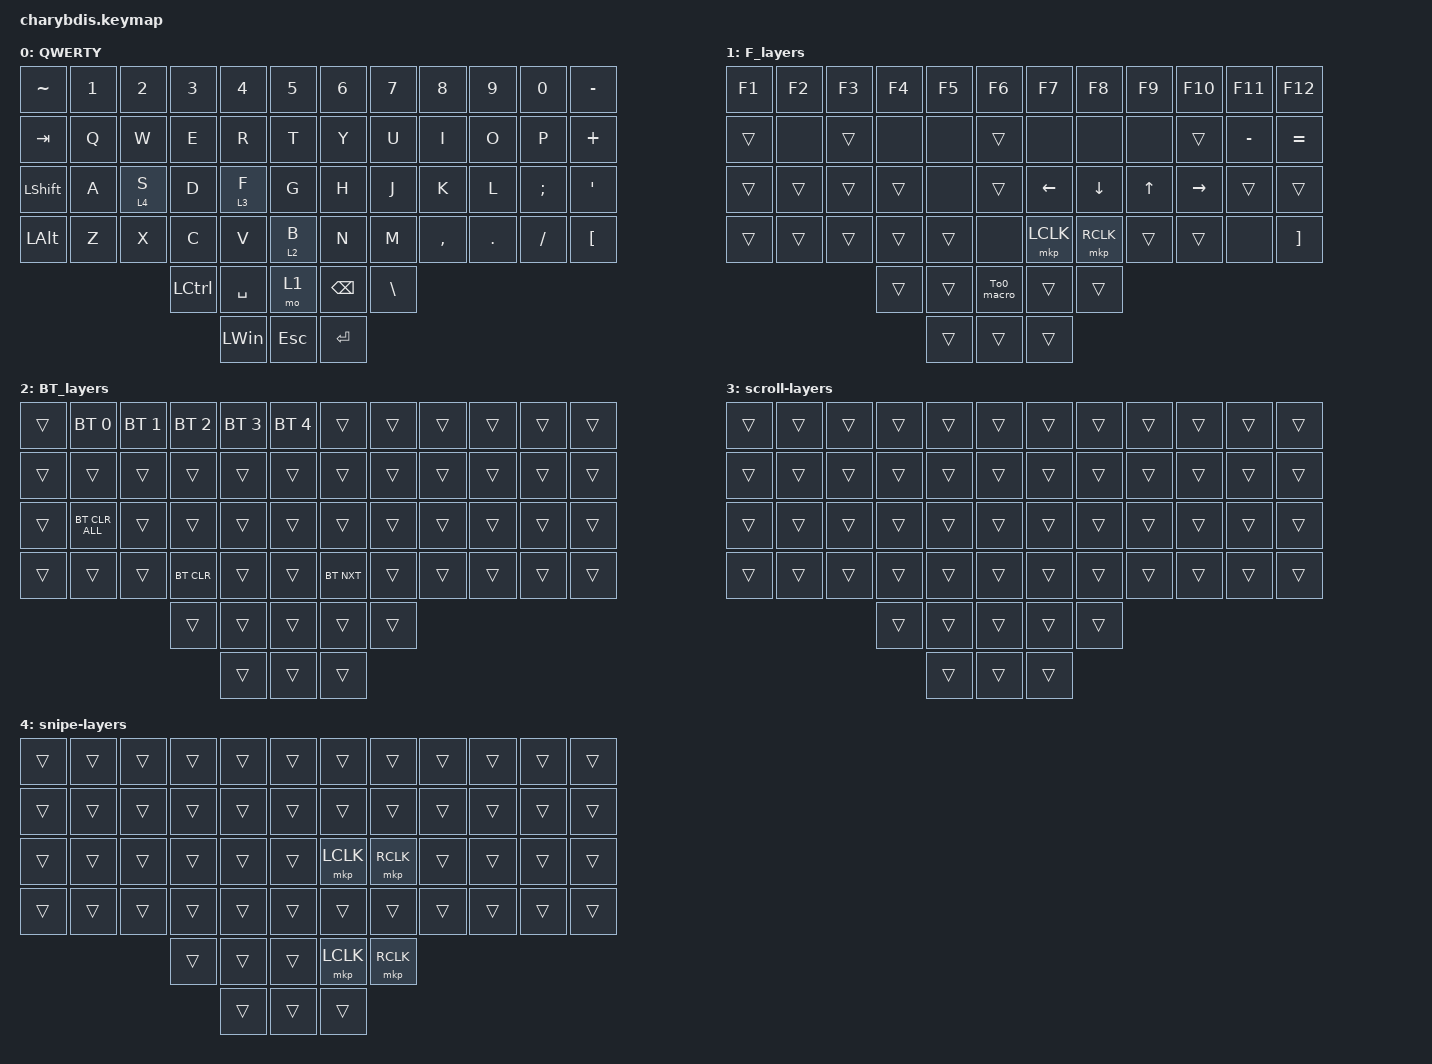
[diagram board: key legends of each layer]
#include <behaviors.dtsi>
#include <dt-bindings/zmk/bt.h>
#include <dt-bindings/zmk/keys.h>
#include <dt-bindings/zmk/pointing.h>
#include <dt-bindings/zmk/rgb.h>

&lt {
    tapping-term-ms = <200>;
    flavor = "balanced";
    quick-tap-ms = <150>;
};

/ {
    macros {
        To1_macro: To1_macro {
            compatible = "zmk,behavior-macro";
            label = "To1_macro";
            #binding-cells = <0>;
            bindings = <&rgb_ug RGB_EFF &rgb_ug RGB_COLOR_HSB(128,100,50) &to 1>;
        };

        To0_macro: To0_macro {
            compatible = "zmk,behavior-macro";
            label = "To0_macro";
            #binding-cells = <0>;
            bindings = <&rgb_ug RGB_EFR &to 0>;
        };

        To2_macro: To2_macro {
            compatible = "zmk,behavior-macro";
            label = "To2_macro";
            #binding-cells = <0>;
            bindings =
                <&to 2>,
                <&macro_wait_time 30>,
                <&rgb_ug RGB_COLOR_HSB(250,100,50)>;
        };
    };

    keymap {
        compatible = "zmk,keymap";

        QWERTY {
            bindings = <
&kp TILDE       &kp N1  &kp N2   &kp N3            &kp N4        &kp N5        &kp N6         &kp N7         &kp N8     &kp N9   &kp N0    &kp MINUS
&kp TAB         &kp Q   &kp W    &kp E             &kp R         &kp T         &kp Y          &kp U          &kp I      &kp O    &kp P     &kp PLUS
&kp LEFT_SHIFT  &kp A   &lt 4 S  &kp D             &lt 3 F       &kp G         &kp H          &kp J          &kp K      &kp L    &kp SEMI  &kp SQT
&kp LEFT_ALT    &kp Z   &kp X    &kp C             &kp V         &lt 2 B       &kp N          &kp M          &kp COMMA  &kp DOT  &kp FSLH  &kp LBKT
                                 &kp LEFT_CONTROL  &kp SPACE     &mo 1         &kp BACKSPACE  &kp BACKSLASH
                                                   &kp LEFT_WIN  &kp ESCAPE    &kp ENTER
            >;
        };

        F_layers {
            bindings = <
&kp F1  &kp F2  &kp F3  &kp F4  &kp F5  &kp F6        &kp F7          &kp F8          &kp F9        &kp F10          &kp F11    &kp F12
&trans  &none   &trans  &none   &none   &trans        &none           &none           &none         &trans           &kp MINUS  &kp EQUAL
&trans  &trans  &trans  &trans  &none   &trans        &kp LEFT_ARROW  &kp DOWN_ARROW  &kp UP_ARROW  &kp RIGHT_ARROW  &trans     &trans
&trans  &trans  &trans  &trans  &trans  &none         &mkp LCLK       &mkp RCLK       &trans        &trans           &none      &kp RBKT
                        &trans  &trans  &To0_macro    &trans          &trans
                                &trans  &trans        &trans
            >;
        };

        BT_layers {
            bindings = <
&trans  &bt BT_SEL 0    &bt BT_SEL 1  &bt BT_SEL 2  &bt BT_SEL 3  &bt BT_SEL 4    &trans      &trans  &trans  &trans  &trans  &trans
&trans  &trans          &trans        &trans        &trans        &trans          &trans      &trans  &trans  &trans  &trans  &trans
&trans  &bt BT_CLR_ALL  &trans        &trans        &trans        &trans          &trans      &trans  &trans  &trans  &trans  &trans
&trans  &trans          &trans        &bt BT_CLR    &trans        &trans          &bt BT_NXT  &trans  &trans  &trans  &trans  &trans
                                      &trans        &trans        &trans          &trans      &trans
                                                    &trans        &trans          &trans
            >;
        };

        scroll-layers {
            bindings = <
&trans  &trans  &trans  &trans  &trans  &trans    &trans  &trans  &trans  &trans  &trans  &trans
&trans  &trans  &trans  &trans  &trans  &trans    &trans  &trans  &trans  &trans  &trans  &trans
&trans  &trans  &trans  &trans  &trans  &trans    &trans  &trans  &trans  &trans  &trans  &trans
&trans  &trans  &trans  &trans  &trans  &trans    &trans  &trans  &trans  &trans  &trans  &trans
                        &trans  &trans  &trans    &trans  &trans
                                &trans  &trans    &trans
            >;
        };

        snipe-layers {
            bindings = <
&trans  &trans  &trans  &trans  &trans  &trans    &trans     &trans     &trans  &trans  &trans  &trans
&trans  &trans  &trans  &trans  &trans  &trans    &trans     &trans     &trans  &trans  &trans  &trans
&trans  &trans  &trans  &trans  &trans  &trans    &mkp LCLK  &mkp RCLK  &trans  &trans  &trans  &trans
&trans  &trans  &trans  &trans  &trans  &trans    &trans     &trans     &trans  &trans  &trans  &trans
                        &trans  &trans  &trans    &mkp LCLK  &mkp RCLK
                                &trans  &trans    &trans
            >;
        };
    };
};
